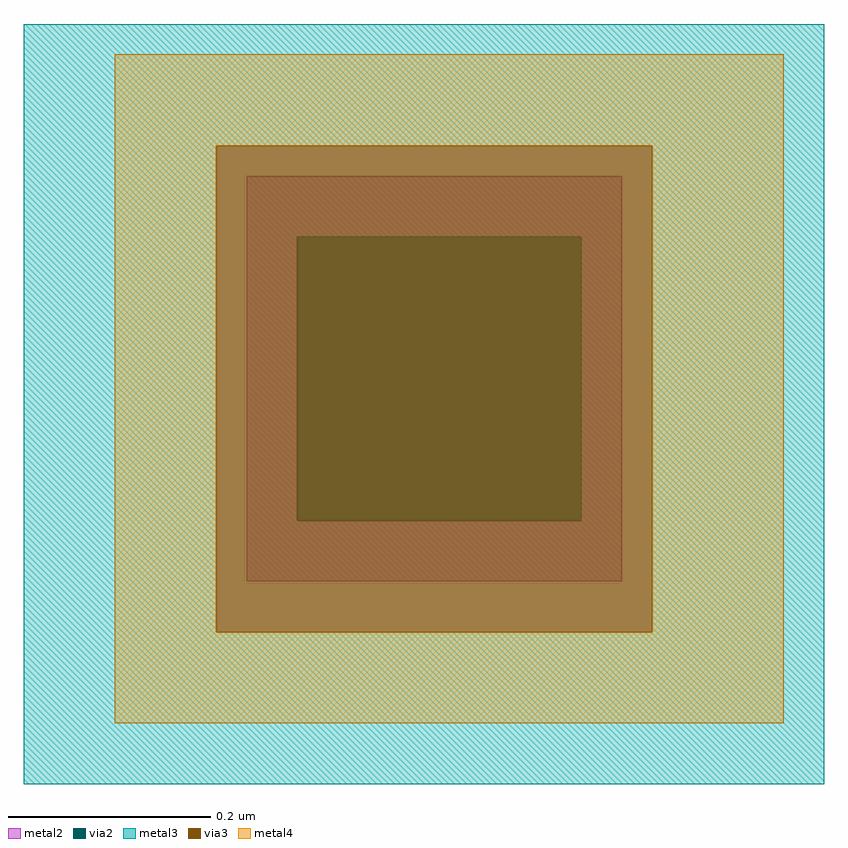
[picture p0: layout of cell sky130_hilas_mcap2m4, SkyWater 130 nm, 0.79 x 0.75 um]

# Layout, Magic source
magic
tech sky130A
<< metal2 >>
rect 22 54 59 60
rect 22 26 27 54
rect 55 26 59 54
rect 22 20 59 26
<< via2 >>
rect 27 26 55 54
<< metal3 >>
rect 0 63 79 75
rect 0 15 19 63
rect 62 15 79 63
rect 0 0 79 15
<< via3 >>
rect 19 54 62 63
rect 19 26 27 54
rect 27 26 55 54
rect 55 26 62 54
rect 19 15 62 26
<< metal4 >>
rect 9 63 75 72
rect 9 15 19 63
rect 62 15 75 63
rect 9 6 75 15
<< properties >>
string LEFsite unithd
string LEFclass CORE
string LEFsymmetry X Y R90
<< end >>
